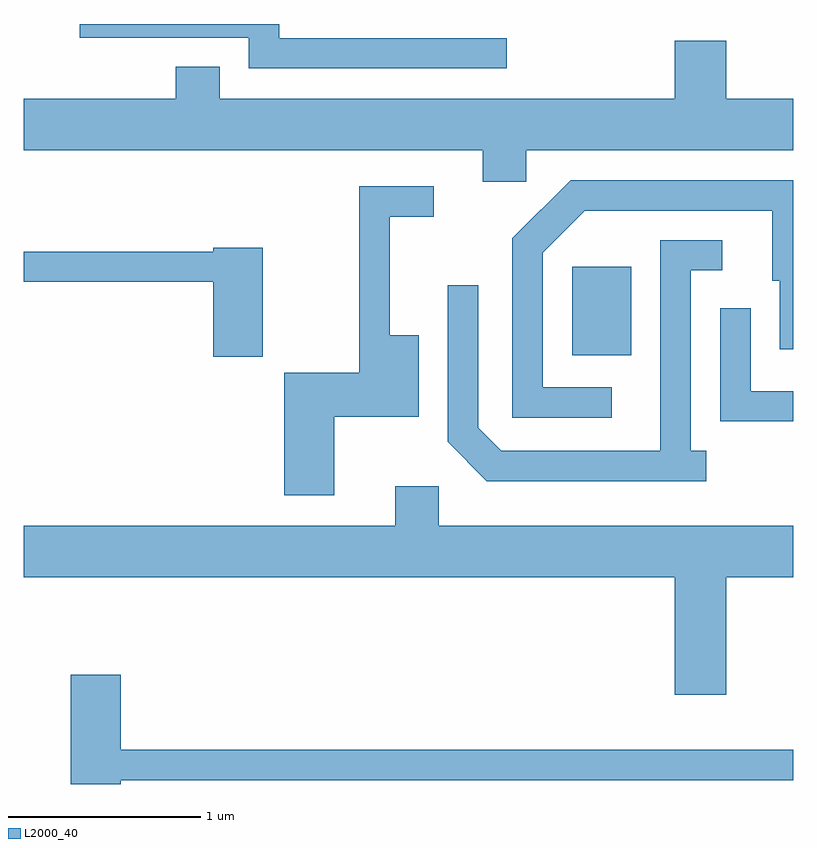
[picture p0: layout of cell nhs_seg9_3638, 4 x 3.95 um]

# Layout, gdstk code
import gdstk
lib = gdstk.Library(unit=1e-6, precision=1e-09)
def R(c, l, rs):  # rectangles x0, y0, x1, y1
    for r in rs: c.add(gdstk.rectangle(r[:2], r[2:], *l))
def P(c, l, *ps):  # polygons
    for p in ps: c.add(gdstk.Polygon(p, *l))
L2000_40 = (2000, 40)

nhs_seg9_3638 = lib.new_cell('nhs_seg9_3638')
R(nhs_seg9_3638, L2000_40, [(294.461,2030.711,294.769,2031.169)])
P(nhs_seg9_3638, L2000_40, [(294.123,2032.359),(292.939,2032.359),(292.939,2032.432),(291.903,2032.432),(291.903,2032.361),(292.781,2032.361),(292.781,2032.201),(294.123,2032.201)],
  [(294.224,2031.776),(295.611,2031.776),(295.611,2032.044),(295.264,2032.044),(295.264,2032.344),(294.996,2032.344),(294.996,2032.044),(292.629,2032.044),(292.629,2032.209),(292.401,2032.209),(292.401,2032.044),(291.611,2032.044),(291.611,2031.776),(293.996,2031.776),(293.996,2031.611),(294.224,2031.611)],
  [(294.668,2030.544),(294.309,2030.544),(294.309,2031.244),(294.527,2031.461),(295.501,2031.461),(295.501,2031.096),(295.541,2031.096),(295.541,2030.741),(295.611,2030.741),(295.611,2031.619),(294.454,2031.619),(294.151,2031.317),(294.151,2030.386),(294.668,2030.386)],
  [(293.224,2030.391),(293.664,2030.391),(293.664,2030.814),(293.514,2030.814),(293.514,2031.431),(293.743,2031.431),(293.743,2031.589),(293.356,2031.589),(293.356,2030.619),(292.966,2030.619),(292.966,2029.981),(293.224,2029.981)],
  [(295.158,2030.214),(295.079,2030.214),(295.079,2031.151),(295.243,2031.151),(295.243,2031.309),(294.921,2031.309),(294.921,2030.214),(294.092,2030.214),(293.974,2030.332),(293.974,2031.073),(293.816,2031.073),(293.816,2030.259),(294.019,2030.056),(295.158,2030.056)],
  [(292.854,2031.269),(292.596,2031.269),(292.596,2031.249),(291.611,2031.249),(291.611,2031.091),(292.596,2031.091),(292.596,2030.701),(292.854,2030.701)],
  [(295.611,2030.524),(295.389,2030.524),(295.389,2030.953),(295.231,2030.953),(295.231,2030.366),(295.611,2030.366)],
  [(294.996,2028.946),(295.264,2028.946),(295.264,2029.556),(295.611,2029.556),(295.611,2029.824),(293.769,2029.824),(293.769,2030.029),(293.541,2030.029),(293.541,2029.824),(291.611,2029.824),(291.611,2029.556),(294.996,2029.556)],
  [(292.114,2028.501),(295.611,2028.501),(295.611,2028.659),(292.114,2028.659),(292.114,2029.049),(291.856,2029.049),(291.856,2028.481),(292.114,2028.481)])

lib.write_gds('nhs_seg9_3638.gds')
